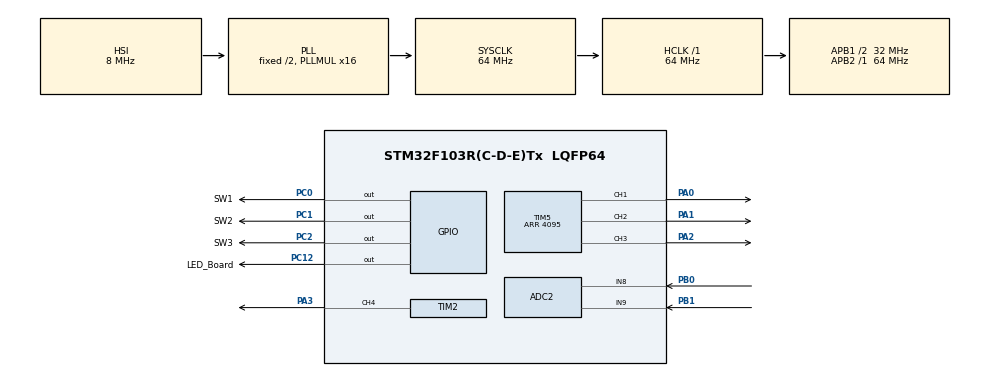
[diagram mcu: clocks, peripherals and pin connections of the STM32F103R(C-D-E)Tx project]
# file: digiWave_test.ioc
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ADC2.Channel-2\#ChannelRegularConversion=ADC_CHANNEL_8
ADC2.Channel-3\#ChannelRegularConversion=ADC_CHANNEL_9
ADC2.ContinuousConvMode=ENABLE
ADC2.NbrOfConversion=2
ADC2.NbrOfConversionFlag=1
ADC2.Rank-2\#ChannelRegularConversion=1
ADC2.Rank-3\#ChannelRegularConversion=2
ADC2.SamplingTime-2\#ChannelRegularConversion=ADC_SAMPLETIME_239CYCLES_5
ADC2.SamplingTime-3\#ChannelRegularConversion=ADC_SAMPLETIME_239CYCLES_5
Mcu.Family=STM32F1
Mcu.Name=STM32F103R(C-D-E)Tx
Mcu.Package=LQFP64
NVIC.PriorityGroup=NVIC_PRIORITYGROUP_4
PA0-WKUP.Signal=S_TIM5_CH1
PA1.Signal=S_TIM5_CH2
PA13.Mode=Serial_Wire
PA13.Signal=SYS_JTMS-SWDIO
PA14.Mode=Serial_Wire
PA14.Signal=SYS_JTCK-SWCLK
PA2.Signal=S_TIM5_CH3
PA3.Signal=S_TIM2_CH4
PB0.Signal=ADCx_IN8
PB1.Signal=ADCx_IN9
PC0.GPIO_Label=SW1
PC0.Signal=GPIO_Output
PC1.GPIO_Label=SW2
PC1.Signal=GPIO_Output
PC12.GPIO_Label=LED_Board
PC12.Signal=GPIO_Output
PC2.GPIO_Label=SW3
PC2.Signal=GPIO_Output
ProjectManager.HeapSize=0x200
ProjectManager.StackSize=0x400
ProjectManager.TargetToolchain=SW4STM32
RCC.ADCPresc=RCC_ADCPCLK2_DIV8
RCC.AHBFreq_Value=64000000
RCC.APB1CLKDivider=RCC_HCLK_DIV2
RCC.APB1Freq_Value=32000000
RCC.APB1TimFreq_Value=64000000
RCC.APB2Freq_Value=64000000
RCC.APB2TimFreq_Value=64000000
RCC.HCLKFreq_Value=64000000
RCC.PLLMUL=RCC_PLL_MUL16
RCC.SYSCLKFreq_VALUE=64000000
RCC.SYSCLKSource=RCC_SYSCLKSOURCE_PLLCLK
RCC.USBFreq_Value=64000000
SH.ADCx_IN8.0=ADC2_IN8,IN8
SH.ADCx_IN9.0=ADC2_IN9,IN9
SH.S_TIM2_CH4.0=TIM2_CH4,PWM Generation4 CH4
SH.S_TIM5_CH1.0=TIM5_CH1,PWM Generation1 CH1
SH.S_TIM5_CH2.0=TIM5_CH2,PWM Generation2 CH2
SH.S_TIM5_CH3.0=TIM5_CH3,PWM Generation3 CH3
TIM2.Channel-PWM\ Generation4\ CH4=TIM_CHANNEL_4
TIM2.Period=255
TIM2.Pulse-PWM\ Generation4\ CH4=127
TIM5.Channel-PWM\ Generation1\ CH1=TIM_CHANNEL_1
TIM5.Channel-PWM\ Generation2\ CH2=TIM_CHANNEL_2
TIM5.Channel-PWM\ Generation3\ CH3=TIM_CHANNEL_3
TIM5.Period=4095
TIM5.Pulse-PWM\ Generation1\ CH1=2047
TIM5.Pulse-PWM\ Generation2\ CH2=2047
TIM5.Pulse-PWM\ Generation3\ CH3=2047
board=custom

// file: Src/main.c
/* USER CODE BEGIN Header */
/**
  ******************************************************************************
  * @file           : main.c
  * @brief          : Main program body
  ******************************************************************************
  * @attention
  *
  * <h2><center>&copy; Copyright (c) 2020 STMicroelectronics.
  * All rights reserved.</center></h2>
  *
  * This software component is licensed by ST under BSD 3-Clause license,
  * the "License"; You may not use this file except in compliance with the
  * License. You may obtain a copy of the License at:
  *                        opensource.org/licenses/BSD-3-Clause
  *
  ******************************************************************************
  */
/* USER CODE END Header */

#include "main.h"

/* USER CODE BEGIN Includes */
#include "9481.h"
#include "fonts.h"
#include "touch.h"
/* USER CODE END Includes */

ADC_HandleTypeDef hadc2;

TIM_HandleTypeDef htim2;
TIM_HandleTypeDef htim5;

/* USER CODE BEGIN PV */
char Buf[16];
volatile uint16_t valores[4];
uint32_t ADval[2];

/* USER CODE END PV */

void SystemClock_Config(void);
static void MX_GPIO_Init(void);
static void MX_TIM2_Init(void);
static void MX_TIM5_Init(void);
static void MX_ADC2_Init(void);

int main(void)
{

  /* MCU Configuration--------------------------------------------------------*/

  /* Reset of all peripherals, Initializes the Flash interface and the Systick. */
  HAL_Init();

  /* Configure the system clock */
  SystemClock_Config();

  /* Initialize all configured peripherals */
  MX_GPIO_Init();
  MX_TIM2_Init();
  MX_TIM5_Init();
  MX_ADC2_Init();
  /* USER CODE BEGIN 2 */
  HAL_ADC_Start(&hadc2);

  LCD_Begin();
  LCD_fillScreen(DARKBLUE);
  LCD_WriteString(00, 120, "Hello world", Font_7x10, WHITE, DARKBLUE);
  HAL_Delay(1000);

  /* USER CODE END 2 */

  /* Infinite loop */
  while (1)
  {

    /* USER CODE BEGIN 3 */
	  LCD_fillScreen(BLACK);
	  HAL_GPIO_TogglePin(GPIOC, GPIO_PIN_12);

	  LCD_fillRectangle(10, 10, 470, 50, DARKBLUE);
	  sprintf(Buf,"Freq: 1 234 567.23 Hz", valores[0]);
	  LCD_WriteString(100, 20, Buf, Font_11x18, WHITE, DARKBLUE);

	  HAL_Delay(100);
	  touch_read(valores);
	  sprintf(Buf,"y = %i", valores[0]);
	  LCD_WriteString(10, 300, Buf, Font_7x10, WHITE, BLACK);
	  sprintf(Buf,"x = %i", valores[1]);
	  LCD_WriteString(120, 300, Buf, Font_7x10, WHITE, BLACK);
	  sprintf(Buf,"z = %i", valores[2]);
	  LCD_WriteString(230, 300, Buf, Font_7x10, WHITE, BLACK);
	  sprintf(Buf,"dummy %i", valores[3]);
	  LCD_WriteString(340, 300, Buf, Font_7x10, WHITE, BLACK);
	  HAL_Delay(1500);

  }
  /* USER CODE END 3 */
}

void SystemClock_Config(void)
{
  RCC_OscInitTypeDef RCC_OscInitStruct = {0};
  RCC_ClkInitTypeDef RCC_ClkInitStruct = {0};
  RCC_PeriphCLKInitTypeDef PeriphClkInit = {0};

  /** Initializes the CPU, AHB and APB busses clocks
  */
  RCC_OscInitStruct.OscillatorType = RCC_OSCILLATORTYPE_HSI;
  RCC_OscInitStruct.HSIState = RCC_HSI_ON;
  RCC_OscInitStruct.HSICalibrationValue = RCC_HSICALIBRATION_DEFAULT;
  RCC_OscInitStruct.PLL.PLLState = RCC_PLL_ON;
  RCC_OscInitStruct.PLL.PLLSource = RCC_PLLSOURCE_HSI_DIV2;
  RCC_OscInitStruct.PLL.PLLMUL = RCC_PLL_MUL16;
  if (HAL_RCC_OscConfig(&RCC_OscInitStruct) != HAL_OK)
  {
    Error_Handler();
  }
  /** Initializes the CPU, AHB and APB busses clocks
  */
  RCC_ClkInitStruct.ClockType = RCC_CLOCKTYPE_HCLK|RCC_CLOCKTYPE_SYSCLK
                              |RCC_CLOCKTYPE_PCLK1|RCC_CLOCKTYPE_PCLK2;
  RCC_ClkInitStruct.SYSCLKSource = RCC_SYSCLKSOURCE_PLLCLK;
  RCC_ClkInitStruct.AHBCLKDivider = RCC_SYSCLK_DIV1;
  RCC_ClkInitStruct.APB1CLKDivider = RCC_HCLK_DIV2;
  RCC_ClkInitStruct.APB2CLKDivider = RCC_HCLK_DIV1;

  if (HAL_RCC_ClockConfig(&RCC_ClkInitStruct, FLASH_LATENCY_2) != HAL_OK)
  {
    Error_Handler();
  }
  PeriphClkInit.PeriphClockSelection = RCC_PERIPHCLK_ADC;
  PeriphClkInit.AdcClockSelection = RCC_ADCPCLK2_DIV8;
  if (HAL_RCCEx_PeriphCLKConfig(&PeriphClkInit) != HAL_OK)
  {
    Error_Handler();
  }
}

static void MX_ADC2_Init(void)
{

  ADC_ChannelConfTypeDef sConfig = {0};

  /** Common config
  */
  hadc2.Instance = ADC2;
  hadc2.Init.ScanConvMode = ADC_SCAN_ENABLE;
  hadc2.Init.ContinuousConvMode = ENABLE;
  hadc2.Init.DiscontinuousConvMode = DISABLE;
  hadc2.Init.ExternalTrigConv = ADC_SOFTWARE_START;
  hadc2.Init.DataAlign = ADC_DATAALIGN_RIGHT;
  hadc2.Init.NbrOfConversion = 2;
  if (HAL_ADC_Init(&hadc2) != HAL_OK)
  {
    Error_Handler();
  }
  /** Configure Regular Channel
  */
  sConfig.Channel = ADC_CHANNEL_8;
  sConfig.Rank = ADC_REGULAR_RANK_1;
  sConfig.SamplingTime = ADC_SAMPLETIME_239CYCLES_5;
  if (HAL_ADC_ConfigChannel(&hadc2, &sConfig) != HAL_OK)
  {
    Error_Handler();
  }
  /** Configure Regular Channel
  */
  sConfig.Channel = ADC_CHANNEL_9;
  sConfig.Rank = ADC_REGULAR_RANK_2;
  if (HAL_ADC_ConfigChannel(&hadc2, &sConfig) != HAL_OK)
  {
    Error_Handler();
  }

}

static void MX_TIM2_Init(void)
{

  TIM_MasterConfigTypeDef sMasterConfig = {0};
  TIM_OC_InitTypeDef sConfigOC = {0};

  htim2.Instance = TIM2;
  htim2.Init.Prescaler = 0;
  htim2.Init.CounterMode = TIM_COUNTERMODE_UP;
  htim2.Init.Period = 255;
  htim2.Init.ClockDivision = TIM_CLOCKDIVISION_DIV1;
  htim2.Init.AutoReloadPreload = TIM_AUTORELOAD_PRELOAD_DISABLE;
  if (HAL_TIM_PWM_Init(&htim2) != HAL_OK)
  {
    Error_Handler();
  }
  sMasterConfig.MasterOutputTrigger = TIM_TRGO_RESET;
  sMasterConfig.MasterSlaveMode = TIM_MASTERSLAVEMODE_DISABLE;
  if (HAL_TIMEx_MasterConfigSynchronization(&htim2, &sMasterConfig) != HAL_OK)
  {
    Error_Handler();
  }
  sConfigOC.OCMode = TIM_OCMODE_PWM1;
  sConfigOC.Pulse = 127;
  sConfigOC.OCPolarity = TIM_OCPOLARITY_HIGH;
  sConfigOC.OCFastMode = TIM_OCFAST_DISABLE;
  if (HAL_TIM_PWM_ConfigChannel(&htim2, &sConfigOC, TIM_CHANNEL_4) != HAL_OK)
  {
    Error_Handler();
  }
  HAL_TIM_MspPostInit(&htim2);

}

static void MX_TIM5_Init(void)
{

  TIM_MasterConfigTypeDef sMasterConfig = {0};
  TIM_OC_InitTypeDef sConfigOC = {0};

  htim5.Instance = TIM5;
  htim5.Init.Prescaler = 0;
  htim5.Init.CounterMode = TIM_COUNTERMODE_UP;
  htim5.Init.Period = 4095;
  htim5.Init.ClockDivision = TIM_CLOCKDIVISION_DIV1;
  htim5.Init.AutoReloadPreload = TIM_AUTORELOAD_PRELOAD_DISABLE;
  if (HAL_TIM_PWM_Init(&htim5) != HAL_OK)
  {
    Error_Handler();
  }
  sMasterConfig.MasterOutputTrigger = TIM_TRGO_RESET;
  sMasterConfig.MasterSlaveMode = TIM_MASTERSLAVEMODE_DISABLE;
  if (HAL_TIMEx_MasterConfigSynchronization(&htim5, &sMasterConfig) != HAL_OK)
  {
    Error_Handler();
  }
  sConfigOC.OCMode = TIM_OCMODE_PWM1;
  sConfigOC.Pulse = 2047;
  sConfigOC.OCPolarity = TIM_OCPOLARITY_HIGH;
  sConfigOC.OCFastMode = TIM_OCFAST_DISABLE;
  if (HAL_TIM_PWM_ConfigChannel(&htim5, &sConfigOC, TIM_CHANNEL_1) != HAL_OK)
  {
    Error_Handler();
  }
  if (HAL_TIM_PWM_ConfigChannel(&htim5, &sConfigOC, TIM_CHANNEL_2) != HAL_OK)
  {
    Error_Handler();
  }
  if (HAL_TIM_PWM_ConfigChannel(&htim5, &sConfigOC, TIM_CHANNEL_3) != HAL_OK)
  {
    Error_Handler();
  }
  HAL_TIM_MspPostInit(&htim5);

}

static void MX_GPIO_Init(void)
{
  GPIO_InitTypeDef GPIO_InitStruct = {0};

  /* GPIO Ports Clock Enable */
  __HAL_RCC_GPIOC_CLK_ENABLE();
  __HAL_RCC_GPIOA_CLK_ENABLE();
  __HAL_RCC_GPIOB_CLK_ENABLE();

  /*Configure GPIO pin Output Level */
  HAL_GPIO_WritePin(GPIOC, SW1_Pin|SW2_Pin|SW3_Pin|LED_Board_Pin, GPIO_PIN_RESET);

  /*Configure GPIO pins : SW1_Pin SW2_Pin SW3_Pin LED_Board_Pin */
  GPIO_InitStruct.Pin = SW1_Pin|SW2_Pin|SW3_Pin|LED_Board_Pin;
  GPIO_InitStruct.Mode = GPIO_MODE_OUTPUT_PP;
  GPIO_InitStruct.Pull = GPIO_NOPULL;
  GPIO_InitStruct.Speed = GPIO_SPEED_FREQ_LOW;
  HAL_GPIO_Init(GPIOC, &GPIO_InitStruct);

}

void Error_Handler(void)
{
}

/************************ (C) COPYRIGHT STMicroelectronics *****END OF FILE****/
